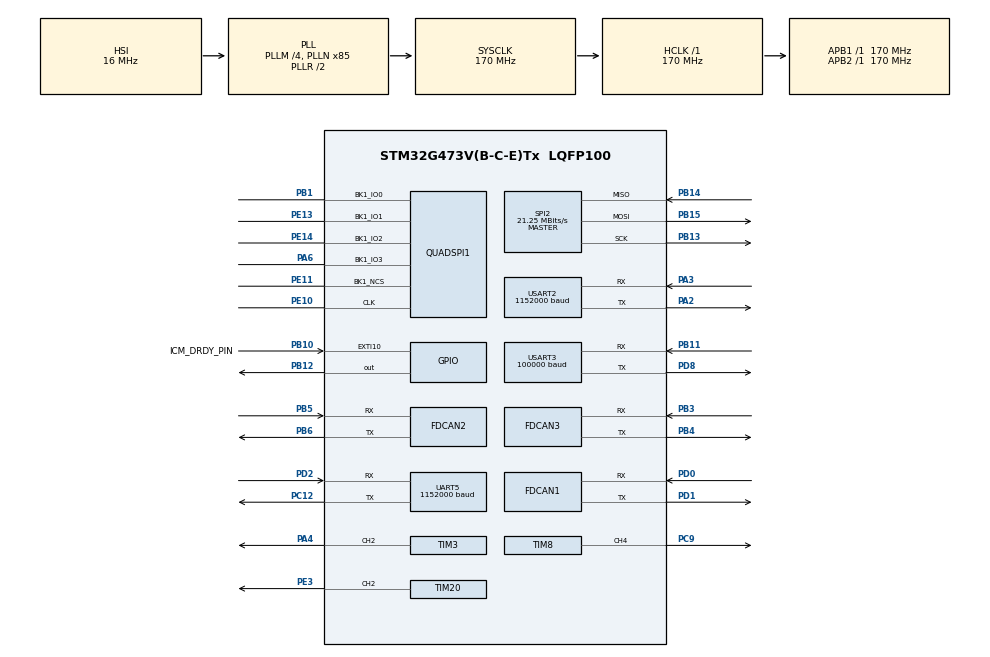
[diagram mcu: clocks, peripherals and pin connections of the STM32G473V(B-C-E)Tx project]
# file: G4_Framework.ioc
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Dma.QUADSPI.3.Direction=DMA_MEMORY_TO_PERIPH
Dma.QUADSPI.3.EventEnable=DISABLE
Dma.QUADSPI.3.Instance=DMA1_Channel4
Dma.QUADSPI.3.MemDataAlignment=DMA_MDATAALIGN_WORD
Dma.QUADSPI.3.MemInc=DMA_MINC_ENABLE
Dma.QUADSPI.3.Mode=DMA_NORMAL
Dma.QUADSPI.3.PeriphDataAlignment=DMA_PDATAALIGN_WORD
Dma.QUADSPI.3.PeriphInc=DMA_PINC_DISABLE
Dma.QUADSPI.3.Polarity=HAL_DMAMUX_REQ_GEN_RISING
Dma.QUADSPI.3.Priority=DMA_PRIORITY_HIGH
Dma.QUADSPI.3.RequestNumber=1
Dma.QUADSPI.3.SignalID=NONE
Dma.QUADSPI.3.SyncEnable=DISABLE
Dma.QUADSPI.3.SyncPolarity=HAL_DMAMUX_SYNC_NO_EVENT
Dma.QUADSPI.3.SyncRequestNumber=1
Dma.QUADSPI.3.SyncSignalID=NONE
Dma.Request0=USART2_TX
Dma.Request1=USART3_RX
Dma.Request2=TIM8_CH4
Dma.Request3=QUADSPI
Dma.Request4=SPI2_RX
Dma.Request5=SPI2_TX
Dma.Request6=UART5_TX
Dma.SPI2_RX.4.Direction=DMA_PERIPH_TO_MEMORY
Dma.SPI2_RX.4.EventEnable=DISABLE
Dma.SPI2_RX.4.Instance=DMA1_Channel5
Dma.SPI2_RX.4.MemDataAlignment=DMA_MDATAALIGN_BYTE
Dma.SPI2_RX.4.MemInc=DMA_MINC_ENABLE
Dma.SPI2_RX.4.Mode=DMA_NORMAL
Dma.SPI2_RX.4.PeriphDataAlignment=DMA_PDATAALIGN_BYTE
Dma.SPI2_RX.4.PeriphInc=DMA_PINC_DISABLE
Dma.SPI2_RX.4.Polarity=HAL_DMAMUX_REQ_GEN_RISING
Dma.SPI2_RX.4.Priority=DMA_PRIORITY_VERY_HIGH
Dma.SPI2_RX.4.RequestNumber=1
Dma.SPI2_RX.4.SignalID=NONE
Dma.SPI2_RX.4.SyncEnable=DISABLE
Dma.SPI2_RX.4.SyncPolarity=HAL_DMAMUX_SYNC_NO_EVENT
Dma.SPI2_RX.4.SyncRequestNumber=1
Dma.SPI2_RX.4.SyncSignalID=NONE
Dma.SPI2_TX.5.Direction=DMA_MEMORY_TO_PERIPH
Dma.SPI2_TX.5.EventEnable=DISABLE
Dma.SPI2_TX.5.Instance=DMA1_Channel6
Dma.SPI2_TX.5.MemDataAlignment=DMA_MDATAALIGN_BYTE
Dma.SPI2_TX.5.MemInc=DMA_MINC_ENABLE
Dma.SPI2_TX.5.Mode=DMA_NORMAL
Dma.SPI2_TX.5.PeriphDataAlignment=DMA_PDATAALIGN_BYTE
Dma.SPI2_TX.5.PeriphInc=DMA_PINC_DISABLE
Dma.SPI2_TX.5.Polarity=HAL_DMAMUX_REQ_GEN_RISING
Dma.SPI2_TX.5.Priority=DMA_PRIORITY_VERY_HIGH
Dma.SPI2_TX.5.RequestNumber=1
Dma.SPI2_TX.5.SignalID=NONE
Dma.SPI2_TX.5.SyncEnable=DISABLE
Dma.SPI2_TX.5.SyncPolarity=HAL_DMAMUX_SYNC_NO_EVENT
Dma.SPI2_TX.5.SyncRequestNumber=1
Dma.SPI2_TX.5.SyncSignalID=NONE
Dma.TIM8_CH4.2.Direction=DMA_MEMORY_TO_PERIPH
Dma.TIM8_CH4.2.EventEnable=DISABLE
Dma.TIM8_CH4.2.Instance=DMA2_Channel2
Dma.TIM8_CH4.2.MemDataAlignment=DMA_MDATAALIGN_HALFWORD
Dma.TIM8_CH4.2.MemInc=DMA_MINC_ENABLE
Dma.TIM8_CH4.2.Mode=DMA_CIRCULAR
Dma.TIM8_CH4.2.PeriphDataAlignment=DMA_PDATAALIGN_HALFWORD
Dma.TIM8_CH4.2.PeriphInc=DMA_PINC_DISABLE
Dma.TIM8_CH4.2.Polarity=HAL_DMAMUX_REQ_GEN_RISING
Dma.TIM8_CH4.2.Priority=DMA_PRIORITY_LOW
Dma.TIM8_CH4.2.RequestNumber=1
Dma.TIM8_CH4.2.SignalID=NONE
Dma.TIM8_CH4.2.SyncEnable=DISABLE
Dma.TIM8_CH4.2.SyncPolarity=HAL_DMAMUX_SYNC_NO_EVENT
Dma.TIM8_CH4.2.SyncRequestNumber=1
Dma.TIM8_CH4.2.SyncSignalID=NONE
Dma.UART5_TX.6.Direction=DMA_MEMORY_TO_PERIPH
Dma.UART5_TX.6.EventEnable=DISABLE
Dma.UART5_TX.6.Instance=DMA1_Channel2
Dma.UART5_TX.6.MemDataAlignment=DMA_MDATAALIGN_BYTE
Dma.UART5_TX.6.MemInc=DMA_MINC_ENABLE
Dma.UART5_TX.6.Mode=DMA_NORMAL
Dma.UART5_TX.6.PeriphDataAlignment=DMA_PDATAALIGN_BYTE
Dma.UART5_TX.6.PeriphInc=DMA_PINC_DISABLE
Dma.UART5_TX.6.Polarity=HAL_DMAMUX_REQ_GEN_RISING
Dma.UART5_TX.6.Priority=DMA_PRIORITY_LOW
Dma.UART5_TX.6.RequestNumber=1
Dma.UART5_TX.6.SignalID=NONE
Dma.UART5_TX.6.SyncEnable=DISABLE
Dma.UART5_TX.6.SyncPolarity=HAL_DMAMUX_SYNC_NO_EVENT
Dma.UART5_TX.6.SyncRequestNumber=1
Dma.UART5_TX.6.SyncSignalID=NONE
Dma.USART2_TX.0.Direction=DMA_MEMORY_TO_PERIPH
Dma.USART2_TX.0.EventEnable=DISABLE
Dma.USART2_TX.0.Instance=DMA1_Channel1
Dma.USART2_TX.0.MemDataAlignment=DMA_MDATAALIGN_BYTE
Dma.USART2_TX.0.MemInc=DMA_MINC_ENABLE
Dma.USART2_TX.0.Mode=DMA_NORMAL
Dma.USART2_TX.0.PeriphDataAlignment=DMA_PDATAALIGN_BYTE
Dma.USART2_TX.0.PeriphInc=DMA_PINC_DISABLE
Dma.USART2_TX.0.Polarity=HAL_DMAMUX_REQ_GEN_RISING
Dma.USART2_TX.0.Priority=DMA_PRIORITY_LOW
Dma.USART2_TX.0.RequestNumber=1
Dma.USART2_TX.0.SignalID=NONE
Dma.USART2_TX.0.SyncEnable=DISABLE
Dma.USART2_TX.0.SyncPolarity=HAL_DMAMUX_SYNC_NO_EVENT
Dma.USART2_TX.0.SyncRequestNumber=1
Dma.USART2_TX.0.SyncSignalID=NONE
Dma.USART3_RX.1.Direction=DMA_PERIPH_TO_MEMORY
Dma.USART3_RX.1.EventEnable=DISABLE
Dma.USART3_RX.1.Instance=DMA1_Channel3
Dma.USART3_RX.1.MemDataAlignment=DMA_MDATAALIGN_BYTE
Dma.USART3_RX.1.MemInc=DMA_MINC_ENABLE
Dma.USART3_RX.1.Mode=DMA_CIRCULAR
Dma.USART3_RX.1.PeriphDataAlignment=DMA_PDATAALIGN_BYTE
Dma.USART3_RX.1.PeriphInc=DMA_PINC_DISABLE
Dma.USART3_RX.1.Polarity=HAL_DMAMUX_REQ_GEN_RISING
Dma.USART3_RX.1.Priority=DMA_PRIORITY_HIGH
Dma.USART3_RX.1.RequestNumber=1
Dma.USART3_RX.1.SignalID=NONE
Dma.USART3_RX.1.SyncEnable=DISABLE
Dma.USART3_RX.1.SyncPolarity=HAL_DMAMUX_SYNC_NO_EVENT
Dma.USART3_RX.1.SyncRequestNumber=1
Dma.USART3_RX.1.SyncSignalID=NONE
FDCAN1.AutoRetransmission=ENABLE
FDCAN1.CalculateBaudRateNominal=1000000
FDCAN1.CalculateTimeBitNominal=1000
FDCAN1.CalculateTimeQuantumNominal=100.0
FDCAN1.NominalPrescaler=17
FDCAN1.NominalTimeSeg1=7
FDCAN1.NominalTimeSeg2=2
FDCAN1.ProtocolException=ENABLE
FDCAN1.StdFiltersNbr=1
FDCAN2.AutoRetransmission=DISABLE
FDCAN2.CalculateBaudRateNominal=1000000
FDCAN2.CalculateTimeBitNominal=1000
FDCAN2.CalculateTimeQuantumNominal=100.0
FDCAN2.NominalPrescaler=17
FDCAN2.NominalTimeSeg1=7
FDCAN2.NominalTimeSeg2=2
FDCAN2.StdFiltersNbr=1
FDCAN3.AutoRetransmission=DISABLE
FDCAN3.CalculateBaudRateNominal=1000000
FDCAN3.CalculateTimeBitNominal=1000
FDCAN3.CalculateTimeQuantumNominal=100.0
FDCAN3.NominalPrescaler=17
FDCAN3.NominalTimeSeg1=7
FDCAN3.NominalTimeSeg2=2
FDCAN3.StdFiltersNbr=1
FREERTOS.Tasks01=IMUTask,40,256,IMU_Task,As weak,NULL,Dynamic,NULL,NULL;MotorTask,8,128,Motor_Task,As weak,NULL,Dynamic,NULL,NULL;TestTask,8,256,Test_Task,As weak,NULL,Dynamic,NULL,NULL
Mcu.Family=STM32G4
Mcu.Name=STM32G473V(B-C-E)Tx
Mcu.Package=LQFP100
NVIC.DMA1_Channel1_IRQn=true\:5\:0\:false\:false\:true\:true\:false\:true\:true
NVIC.DMA1_Channel2_IRQn=true\:5\:0\:false\:false\:true\:true\:false\:true\:true
NVIC.DMA1_Channel3_IRQn=true\:5\:0\:false\:false\:true\:true\:false\:true\:true
NVIC.DMA1_Channel4_IRQn=true\:5\:0\:false\:false\:true\:true\:false\:true\:true
NVIC.DMA1_Channel5_IRQn=true\:5\:0\:false\:false\:true\:true\:false\:true\:true
NVIC.DMA1_Channel6_IRQn=true\:5\:0\:false\:false\:true\:true\:false\:true\:true
NVIC.DMA2_Channel2_IRQn=true\:10\:0\:true\:false\:true\:false\:false\:true\:true
NVIC.EXTI15_10_IRQn=true\:5\:0\:false\:false\:true\:true\:true\:true\:true
NVIC.FDCAN1_IT0_IRQn=true\:5\:0\:false\:false\:true\:true\:true\:true\:true
NVIC.FDCAN1_IT1_IRQn=true\:5\:0\:false\:false\:true\:true\:true\:true\:true
NVIC.FDCAN2_IT0_IRQn=true\:5\:0\:false\:false\:true\:true\:true\:true\:true
NVIC.FDCAN2_IT1_IRQn=true\:5\:0\:false\:false\:true\:true\:true\:true\:true
NVIC.FDCAN3_IT0_IRQn=true\:5\:0\:false\:false\:true\:true\:true\:true\:true
NVIC.FDCAN3_IT1_IRQn=true\:5\:0\:false\:false\:true\:true\:true\:true\:true
NVIC.PriorityGroup=NVIC_PRIORITYGROUP_4
NVIC.QUADSPI_IRQn=true\:5\:0\:false\:false\:true\:true\:true\:true\:true
NVIC.SPI2_IRQn=true\:5\:0\:false\:false\:true\:true\:true\:true\:true
NVIC.TIM1_TRG_COM_TIM17_IRQn=true\:15\:0\:false\:false\:true\:false\:false\:true\:true
NVIC.TIM4_IRQn=true\:5\:0\:false\:false\:true\:true\:true\:true\:true
NVIC.TimeBase=TIM1_TRG_COM_TIM17_IRQn
NVIC.TimeBaseIP=TIM17
NVIC.UART5_IRQn=true\:5\:0\:false\:false\:true\:true\:true\:true\:true
NVIC.USART2_IRQn=true\:5\:0\:false\:false\:true\:true\:true\:true\:true
NVIC.USART3_IRQn=true\:5\:0\:false\:false\:true\:true\:true\:true\:true
PA13.Mode=Serial_Wire
PA13.Signal=SYS_JTMS-SWDIO
PA14.Mode=Serial_Wire
PA14.Signal=SYS_JTCK-SWCLK
PA2.Mode=Asynchronous
PA2.Signal=USART2_TX
PA3.Mode=Asynchronous
PA3.Signal=USART2_RX
PA4.Signal=S_TIM3_CH2
PA6.GPIO_Speed=GPIO_SPEED_FREQ_VERY_HIGH
PA6.Mode=Single Bank 1
PA6.Signal=QUADSPI1_BK1_IO3
PB1.GPIO_Speed=GPIO_SPEED_FREQ_VERY_HIGH
PB1.Mode=Single Bank 1
PB1.Signal=QUADSPI1_BK1_IO0
PB10.GPIO_Label=ICM_DRDY_PIN
PB10.GPIO_PuPd=GPIO_PULLDOWN
PB10.Signal=GPXTI10
PB11.GPIO_PuPd=GPIO_PULLUP
PB11.GPIO_Speed=GPIO_SPEED_FREQ_HIGH
PB11.Mode=Asynchronous
PB11.Signal=USART3_RX
PB12.GPIO_Speed=GPIO_SPEED_FREQ_VERY_HIGH
PB12.PinState=GPIO_PIN_SET
PB12.Signal=GPIO_Output
PB13.Mode=Full_Duplex_Master
PB13.Signal=SPI2_SCK
PB14.Mode=Full_Duplex_Master
PB14.Signal=SPI2_MISO
PB15.Mode=Full_Duplex_Master
PB15.Signal=SPI2_MOSI
PB3.Mode=FDCAN_Activate
PB3.Signal=FDCAN3_RX
PB4.Mode=FDCAN_Activate
PB4.Signal=FDCAN3_TX
PB5.Mode=FDCAN_Activate
PB5.Signal=FDCAN2_RX
PB6.Mode=FDCAN_Activate
PB6.Signal=FDCAN2_TX
PC12.Mode=Asynchronous
PC12.Signal=UART5_TX
PC9.Signal=S_TIM8_CH4
PD0.Mode=FDCAN_Activate
PD0.Signal=FDCAN1_RX
PD1.Mode=FDCAN_Activate
PD1.Signal=FDCAN1_TX
PD2.Mode=Asynchronous
PD2.Signal=UART5_RX
PD8.Mode=Asynchronous
PD8.Signal=USART3_TX
PE10.GPIO_Speed=GPIO_SPEED_FREQ_VERY_HIGH
PE10.Mode=Single Bank 1
PE10.Signal=QUADSPI1_CLK
PE11.GPIO_Speed=GPIO_SPEED_FREQ_VERY_HIGH
PE11.Mode=Single Bank 1
PE11.Signal=QUADSPI1_BK1_NCS
PE13.GPIO_Speed=GPIO_SPEED_FREQ_VERY_HIGH
PE13.Mode=Single Bank 1
PE13.Signal=QUADSPI1_BK1_IO1
PE14.GPIO_Speed=GPIO_SPEED_FREQ_VERY_HIGH
PE14.Mode=Single Bank 1
PE14.Signal=QUADSPI1_BK1_IO2
PE3.Signal=S_TIM20_CH2
PF0-OSC_IN.Mode=HSE-External-Oscillator
PF0-OSC_IN.Signal=RCC_OSC_IN
PF1-OSC_OUT.Mode=HSE-External-Oscillator
PF1-OSC_OUT.Signal=RCC_OSC_OUT
ProjectManager.HeapSize=0x600
ProjectManager.StackSize=0x1000
ProjectManager.TargetToolchain=CMake
QUADSPI1.ChipSelectHighTime=QSPI_CS_HIGH_TIME_4_CYCLE
QUADSPI1.ClockMode=QSPI_CLOCK_MODE_0
QUADSPI1.ClockPrescaler=2
QUADSPI1.FifoThreshold=8
QUADSPI1.FlashSize=27
QUADSPI1.SampleShifting=QSPI_SAMPLE_SHIFTING_NONE
RCC.ADC12Freq_Value=170000000
RCC.ADC345Freq_Value=170000000
RCC.AHBFreq_Value=170000000
RCC.APB1Freq_Value=170000000
RCC.APB1TimFreq_Value=170000000
RCC.APB2Freq_Value=170000000
RCC.APB2TimFreq_Value=170000000
RCC.CK48CLockSelection=RCC_USBCLKSOURCE_HSI48
RCC.CortexFreq_Value=170000000
RCC.EXTERNAL_CLOCK_VALUE=12288000
RCC.HCLKFreq_Value=170000000
RCC.HSE_VALUE=12000000
RCC.HSI48_VALUE=48000000
RCC.HSI_VALUE=16000000
RCC.LSE_VALUE=32768
RCC.PLLM=RCC_PLLM_DIV4
RCC.PLLN=85
RCC.PLLQ=RCC_PLLQ_DIV4
RCC.SYSCLKFreq_VALUE=170000000
RCC.SYSCLKSource=RCC_SYSCLKSOURCE_PLLCLK
RCC.USBFreq_Value=48000000
RCC.VCOOutputFreq_Value=340000000
SH.S_TIM20_CH2.0=TIM20_CH2,PWM Generation2 CH2
SH.S_TIM3_CH2.0=TIM3_CH2,PWM Generation2 CH2
SH.S_TIM8_CH4.0=TIM8_CH4,PWM Generation4 CH4
SPI2.BaudRatePrescaler=SPI_BAUDRATEPRESCALER_8
SPI2.CLKPhase=SPI_PHASE_2EDGE
SPI2.CLKPolarity=SPI_POLARITY_HIGH
SPI2.CalculateBaudRate=21.25 MBits/s
SPI2.DataSize=SPI_DATASIZE_8BIT
SPI2.Direction=SPI_DIRECTION_2LINES
SPI2.Mode=SPI_MODE_MASTER
SPI2.VirtualType=VM_MASTER
TIM20.Channel-PWM\ Generation2\ CH2=TIM_CHANNEL_2
TIM20.PeriodNoDither=420
TIM20.Prescaler=84
TIM3.Channel-PWM\ Generation2\ CH2=TIM_CHANNEL_2
TIM3.PeriodNoDither=999
TIM3.Prescaler=1699
TIM4.PeriodNoDither=1999
TIM4.Prescaler=1699
TIM8.Channel-PWM\ Generation4\ CH4=TIM_CHANNEL_4
TIM8.PeriodNoDither=212
UART5.BaudRate=1152000
USART2.BaudRate=1152000
USART2.VirtualMode-Asynchronous=VM_ASYNC
USART3.BaudRate=100000
USART3.Mode=MODE_RX
USART3.Parity=PARITY_EVEN
USART3.RxPinLevelInvertParam=ADVFEATURE_RXINV_ENABLE
USART3.VirtualMode-Asynchronous=VM_ASYNC
USART3.WordLength=WORDLENGTH_9B
VP_CORDIC_VS_CORDIC.Mode=CORDIC_Activate
VP_FREERTOS_VS_CMSIS_V2.Mode=CMSIS_V2
VP_SYS_VS_DBSignals.Mode=DisableDeadBatterySignals
VP_SYS_VS_tim17.Mode=TIM17
VP_TIM20_VS_ClockSourceINT.Mode=Internal
VP_TIM3_VS_ClockSourceINT.Mode=Internal
VP_TIM4_VS_ClockSourceINT.Mode=Internal
VP_TIM8_VS_ClockSourceINT.Mode=Internal
VREF+.Mode=InternalMode
VREF+.Signal=VREFBUF_OUT
board=custom

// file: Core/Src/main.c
/* USER CODE BEGIN Header */
/**
  ******************************************************************************
  * @file           : main.c
  * @brief          : Main program body
  ******************************************************************************
  * @attention
  *
  * Copyright (c) 2026 STMicroelectronics.
  * All rights reserved.
  *
  * This software is licensed under terms that can be found in the LICENSE file
  * in the root directory of this software component.
  * If no LICENSE file comes with this software, it is provided AS-IS.
  *
  ******************************************************************************
  */
/* USER CODE END Header */
#include "main.h"
#include "cmsis_os.h"
#include "cordic.h"
#include "dma.h"
#include "fdcan.h"
#include "quadspi.h"
#include "spi.h"
#include "tim.h"
#include "usart.h"
#include "gpio.h"

/* USER CODE BEGIN Includes */
#include "All_Init.h"
#include "All_Task.h"
#include "arm_math.h"
/* USER CODE END Includes */

/* USER CODE BEGIN PTD */
/**
  * @brief 手动初始化 CCMRAM 数据段
  */
void CCMRAM_Init(void) {
  // 1. 开启FPU并刷新
  SCB->CPACR |= ((3UL << 10*2)|(3UL << 11*2));
  __DSB(); __ISB();

  // 2. 拷贝CCM数据段（变量）
  extern uint32_t _siccmram_data, _sccmram_data, _eccmram_data;
  const uint32_t CCM_MAX_LEN = 8192;
  uint32_t copy_len = (uint32_t)&_eccmram_data - (uint32_t)&_sccmram_data;
  if (copy_len > CCM_MAX_LEN * 4 || (uint32_t)&_sccmram_data < 0x10000000) {
    return;
  }
  if (&_sccmram_data != &_siccmram_data) {
    uint32_t *pSrc = &_siccmram_data;
    uint32_t *pDest = &_sccmram_data;
    uint32_t i = 0;
    while (pDest < &_eccmram_data && i < CCM_MAX_LEN) {
      *pDest++ = *pSrc++;
      i++;
    }
  }

  // 3. 拷贝CCM函数段（指令）
  extern uint32_t _siccmram_text, _sccmram_text, _eccmram_text;
  uint8_t *pSrc_text = (uint8_t*)&_siccmram_text;
  uint8_t *pDest_text = (uint8_t*)&_sccmram_text;
  uint32_t copy_len_text = (uint32_t)&_eccmram_text - (uint32_t)&_sccmram_text;
  if (copy_len_text > CCM_MAX_LEN * 4 || (uint32_t)&_sccmram_text < 0x10000000) {
    return;
  }
  if (pDest_text != pSrc_text) {
    for (uint32_t i=0; i<copy_len_text; i++) {
      *pDest_text++ = *pSrc_text++;
    }
  }
  __ISB(); // 刷新指令流水线
}
/* USER CODE END PTD */

/* USER CODE BEGIN PD */
extern void vTaskSwitchContext(void);
__attribute__((used)) void* dummy_keep = (void*)vTaskSwitchContext;
/* USER CODE END PD */

/* USER CODE BEGIN PM */
/* 私有变量 */

/* USER CODE END PM */

void SystemClock_Config(void);
void MX_FREERTOS_Init(void);

int main(void)
{

  /* USER CODE BEGIN 1 */
  CCMRAM_Init();
  /* USER CODE END 1 */

  /* MCU Configuration--------------------------------------------------------*/

  /* Reset of all peripherals, Initializes the Flash interface and the Systick. */
  HAL_Init();

  /* Configure the system clock */
  SystemClock_Config();

  /* Initialize all configured peripherals */
  MX_GPIO_Init();
  MX_DMA_Init();
  MX_FDCAN1_Init();
  MX_FDCAN2_Init();
  MX_FDCAN3_Init();
  MX_TIM4_Init();
  MX_USART2_UART_Init();
  MX_SPI2_Init();
  MX_USART3_UART_Init();
  MX_TIM8_Init();
  MX_TIM3_Init();
  MX_TIM20_Init();
  MX_CORDIC_Init();
  MX_QUADSPI1_Init();
  MX_UART5_Init();
  /* USER CODE BEGIN 2 */
  All_Init();
  /* USER CODE END 2 */

  /* Init scheduler */
  osKernelInitialize();  /* Call init function for freertos objects (in cmsis_os2.c) */
  MX_FREERTOS_Init();

  /* Start scheduler */
  osKernelStart();

  /* We should never get here as control is now taken by the scheduler */

  /* Infinite loop */
  while (1)
  {

  }
}

void SystemClock_Config(void)
{
  RCC_OscInitTypeDef RCC_OscInitStruct = {0};
  RCC_ClkInitTypeDef RCC_ClkInitStruct = {0};

  /** Configure the main internal regulator output voltage
  */
  HAL_PWREx_ControlVoltageScaling(PWR_REGULATOR_VOLTAGE_SCALE1_BOOST);

  /** Initializes the RCC Oscillators according to the specified parameters
  * in the RCC_OscInitTypeDef structure.
  */
  RCC_OscInitStruct.OscillatorType = RCC_OSCILLATORTYPE_HSI;
  RCC_OscInitStruct.HSIState = RCC_HSI_ON;
  RCC_OscInitStruct.HSICalibrationValue = RCC_HSICALIBRATION_DEFAULT;
  RCC_OscInitStruct.PLL.PLLState = RCC_PLL_ON;
  RCC_OscInitStruct.PLL.PLLSource = RCC_PLLSOURCE_HSI;
  RCC_OscInitStruct.PLL.PLLM = RCC_PLLM_DIV4;
  RCC_OscInitStruct.PLL.PLLN = 85;
  RCC_OscInitStruct.PLL.PLLP = RCC_PLLP_DIV2;
  RCC_OscInitStruct.PLL.PLLQ = RCC_PLLQ_DIV4;
  RCC_OscInitStruct.PLL.PLLR = RCC_PLLR_DIV2;
  if (HAL_RCC_OscConfig(&RCC_OscInitStruct) != HAL_OK)
  {
    Error_Handler();
  }

  /** Initializes the CPU, AHB and APB buses clocks
  */
  RCC_ClkInitStruct.ClockType = RCC_CLOCKTYPE_HCLK|RCC_CLOCKTYPE_SYSCLK
                              |RCC_CLOCKTYPE_PCLK1|RCC_CLOCKTYPE_PCLK2;
  RCC_ClkInitStruct.SYSCLKSource = RCC_SYSCLKSOURCE_PLLCLK;
  RCC_ClkInitStruct.AHBCLKDivider = RCC_SYSCLK_DIV1;
  RCC_ClkInitStruct.APB1CLKDivider = RCC_HCLK_DIV1;
  RCC_ClkInitStruct.APB2CLKDivider = RCC_HCLK_DIV1;

  if (HAL_RCC_ClockConfig(&RCC_ClkInitStruct, FLASH_LATENCY_4) != HAL_OK)
  {
    Error_Handler();
  }
}

void HAL_TIM_PeriodElapsedCallback(TIM_HandleTypeDef *htim)
{
  if (htim->Instance == TIM17)
  {
    HAL_IncTick();
  }
  /* USER CODE BEGIN Callback 1 */
  MY_TIM_PeriodElapsedCallback(htim);
  /* USER CODE END Callback 1 */
}

void Error_Handler(void)
{
  /* USER CODE BEGIN Error_Handler_Debug */
  HAL_FDCAN_Stop(&hfdcan1);
  HAL_FDCAN_Stop(&hfdcan2);
  HAL_FDCAN_Stop(&hfdcan3);
  HAL_TIM_PWM_Stop(&htim20, TIM_CHANNEL_2);// 进入错误状态后关闭加热片
  WS2812_SetAll(255, 0, 0);
  WS2812_Send();
  for(volatile uint32_t i=0; i<50000; i++);
  /* User can add his own implementation to report the HAL error return state */
  __disable_irq();
  while (1)
  {
  }
  /* USER CODE END Error_Handler_Debug */
}

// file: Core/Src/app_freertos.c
/* USER CODE BEGIN Header */
/**
  ******************************************************************************
  * File Name          : app_freertos.c
  * Description        : Code for freertos applications
  ******************************************************************************
  * @attention
  *
  * Copyright (c) 2026 STMicroelectronics.
  * All rights reserved.
  *
  * This software is licensed under terms that can be found in the LICENSE file
  * in the root directory of this software component.
  * If no LICENSE file comes with this software, it is provided AS-IS.
  *
  ******************************************************************************
  */
/* USER CODE END Header */

#include "FreeRTOS.h"
#include "task.h"
#include "main.h"
#include "cmsis_os.h"

/* USER CODE BEGIN Includes */
#include "All_Task.h"
/* USER CODE END Includes */

/* Definitions for IMUTask */
osThreadId_t IMUTaskHandle;
const osThreadAttr_t IMUTask_attributes = {
  .name = "IMUTask",
  .priority = (osPriority_t) osPriorityHigh,
  .stack_size = 256 * 4
};
/* Definitions for MotorTask */
osThreadId_t MotorTaskHandle;
const osThreadAttr_t MotorTask_attributes = {
  .name = "MotorTask",
  .priority = (osPriority_t) osPriorityLow,
  .stack_size = 128 * 4
};
/* Definitions for TestTask */
osThreadId_t TestTaskHandle;
const osThreadAttr_t TestTask_attributes = {
  .name = "TestTask",
  .priority = (osPriority_t) osPriorityLow,
  .stack_size = 256 * 4
};

void IMU_Task(void *argument);
void Motor_Task(void *argument);
void Test_Task(void *argument);

void MX_FREERTOS_Init(void); /* (MISRA C 2004 rule 8.1) */

void MX_FREERTOS_Init(void) {

  /* Create the thread(s) */
  /* creation of IMUTask */
  IMUTaskHandle = osThreadNew(IMU_Task, NULL, &IMUTask_attributes);

  /* creation of MotorTask */
  MotorTaskHandle = osThreadNew(Motor_Task, NULL, &MotorTask_attributes);

  /* creation of TestTask */
  TestTaskHandle = osThreadNew(Test_Task, NULL, &TestTask_attributes);

}

__weak void IMU_Task(void *argument)
{
  for(;;)
  {
    osDelay(1);
  }
}

__weak void Motor_Task(void *argument)
{
  for(;;)
  {
    osDelay(1);
  }
}

__weak void Test_Task(void *argument)
{
  for(;;)
  {
    osDelay(1);
  }
}
